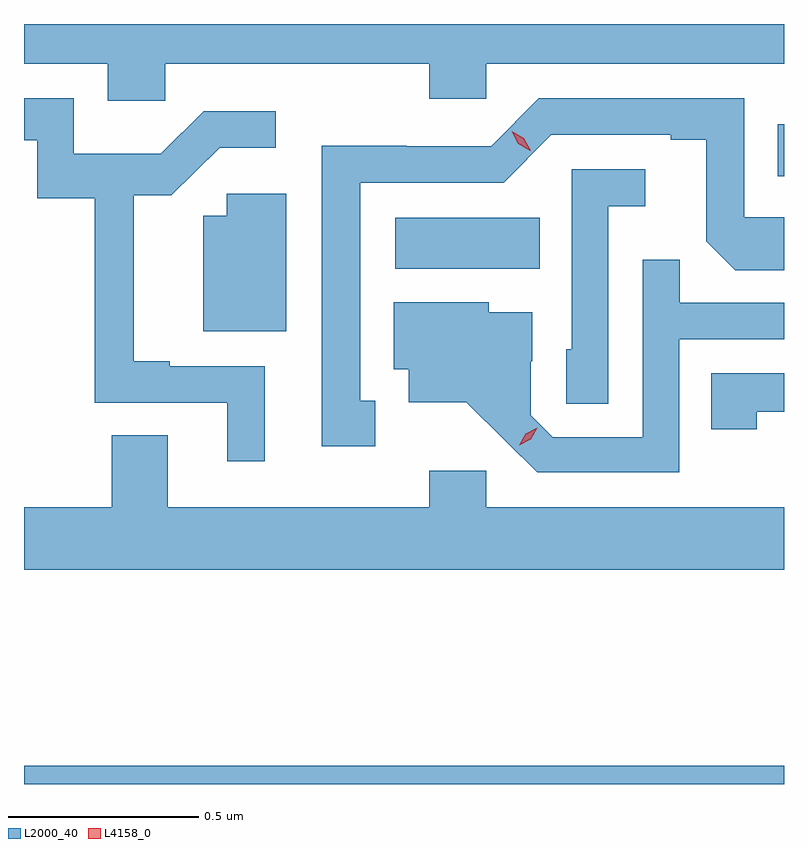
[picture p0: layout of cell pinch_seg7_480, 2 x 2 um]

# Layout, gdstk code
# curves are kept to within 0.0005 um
import gdstk
lib = gdstk.Library(unit=1e-6, precision=1e-09)
def R(c, l, rs):  # rectangles x0, y0, x1, y1
    for r in rs: c.add(gdstk.rectangle(r[:2], r[2:], *l))
def P(c, l, *ps):  # polygons
    for p in ps: c.add(gdstk.Polygon(p, *l))
L2000_40 = (2000, 40)
L4158_0 = (4158, 0)

pinch_seg7_480 = lib.new_cell('pinch_seg7_480')
R(pinch_seg7_480, L2000_40, [(198.781,1073.312,200.781,1073.36), (199.758,1074.668,200.138,1074.802), (200.765,1074.912,200.781,1075.048)])
P(pinch_seg7_480, L2000_40, [(199.153,1075.208),(199.847,1075.208),(199.847,1075.115),(199.998,1075.115),(199.998,1075.208),(200.781,1075.208),(200.781,1075.312),(198.781,1075.312),(198.781,1075.208),(199.001,1075.208),(199.001,1075.11),(199.153,1075.11)],
  [(199.705,1074.321),(199.666,1074.321),(199.666,1074.894),(200.043,1074.894),(200.169,1075.02),(200.483,1075.02),(200.483,1075.008),(200.577,1075.008),(200.577,1074.74),(200.653,1074.664),(200.781,1074.664),(200.781,1074.804),(200.676,1074.804),(200.676,1075.116),(200.136,1075.116),(200.01,1074.99),(199.788,1074.99),(199.788,1074.992),(199.565,1074.992),(199.565,1074.201),(199.705,1074.201)],
  [(199.414,1074.411),(199.165,1074.411),(199.165,1074.424),(199.07,1074.424),(199.07,1074.861),(199.169,1074.861),(199.296,1074.987),(199.444,1074.987),(199.444,1075.083),(199.254,1075.083),(199.141,1074.97),(198.912,1074.97),(198.912,1075.116),(198.781,1075.116),(198.781,1075.006),(198.816,1075.006),(198.816,1074.853),(198.967,1074.853),(198.967,1074.315),(199.316,1074.315),(199.316,1074.162),(199.414,1074.162)],
  [(200.319,1074.833),(200.416,1074.833),(200.416,1074.93),(200.223,1074.93),(200.223,1074.456),(200.208,1074.456),(200.208,1074.313),(200.319,1074.313)],
  [(199.471,1074.865),(199.314,1074.865),(199.314,1074.808),(199.253,1074.808),(199.253,1074.503),(199.471,1074.503)],
  [(200.505,1074.483),(200.781,1074.483),(200.781,1074.579),(200.507,1074.579),(200.507,1074.692),(200.409,1074.692),(200.409,1074.225),(200.172,1074.225),(200.115,1074.282),(200.115,1074.424),(200.119,1074.424),(200.119,1074.553),(200.004,1074.553),(200.004,1074.58),(199.754,1074.58),(199.754,1074.404),(199.793,1074.404),(199.793,1074.317),(199.945,1074.317),(200.132,1074.132),(200.505,1074.132)],
  [(200.709,1074.292),(200.781,1074.292),(200.781,1074.393),(200.59,1074.393),(200.59,1074.246),(200.709,1074.246)],
  [(200.781,1074.04),(199.998,1074.04),(199.998,1074.136),(199.847,1074.136),(199.847,1074.04),(199.159,1074.04),(199.159,1074.23),(199.012,1074.23),(199.012,1074.04),(198.781,1074.04),(198.781,1073.876),(200.781,1073.876)])
P(pinch_seg7_480, L4158_0, [(200.084,1074.204),(200.084,1074.204),(200.101,1074.234),(200.131,1074.249),(200.131,1074.249),(200.131,1074.249),(200.114,1074.219),(200.084,1074.204)],
  [(200.113,1074.978),(200.082,1074.997),(200.064,1075.03),(200.064,1075.03),(200.065,1075.03),(200.096,1075.011),(200.114,1074.978),(200.114,1074.978)])

lib.write_gds('pinch_seg7_480.gds')
